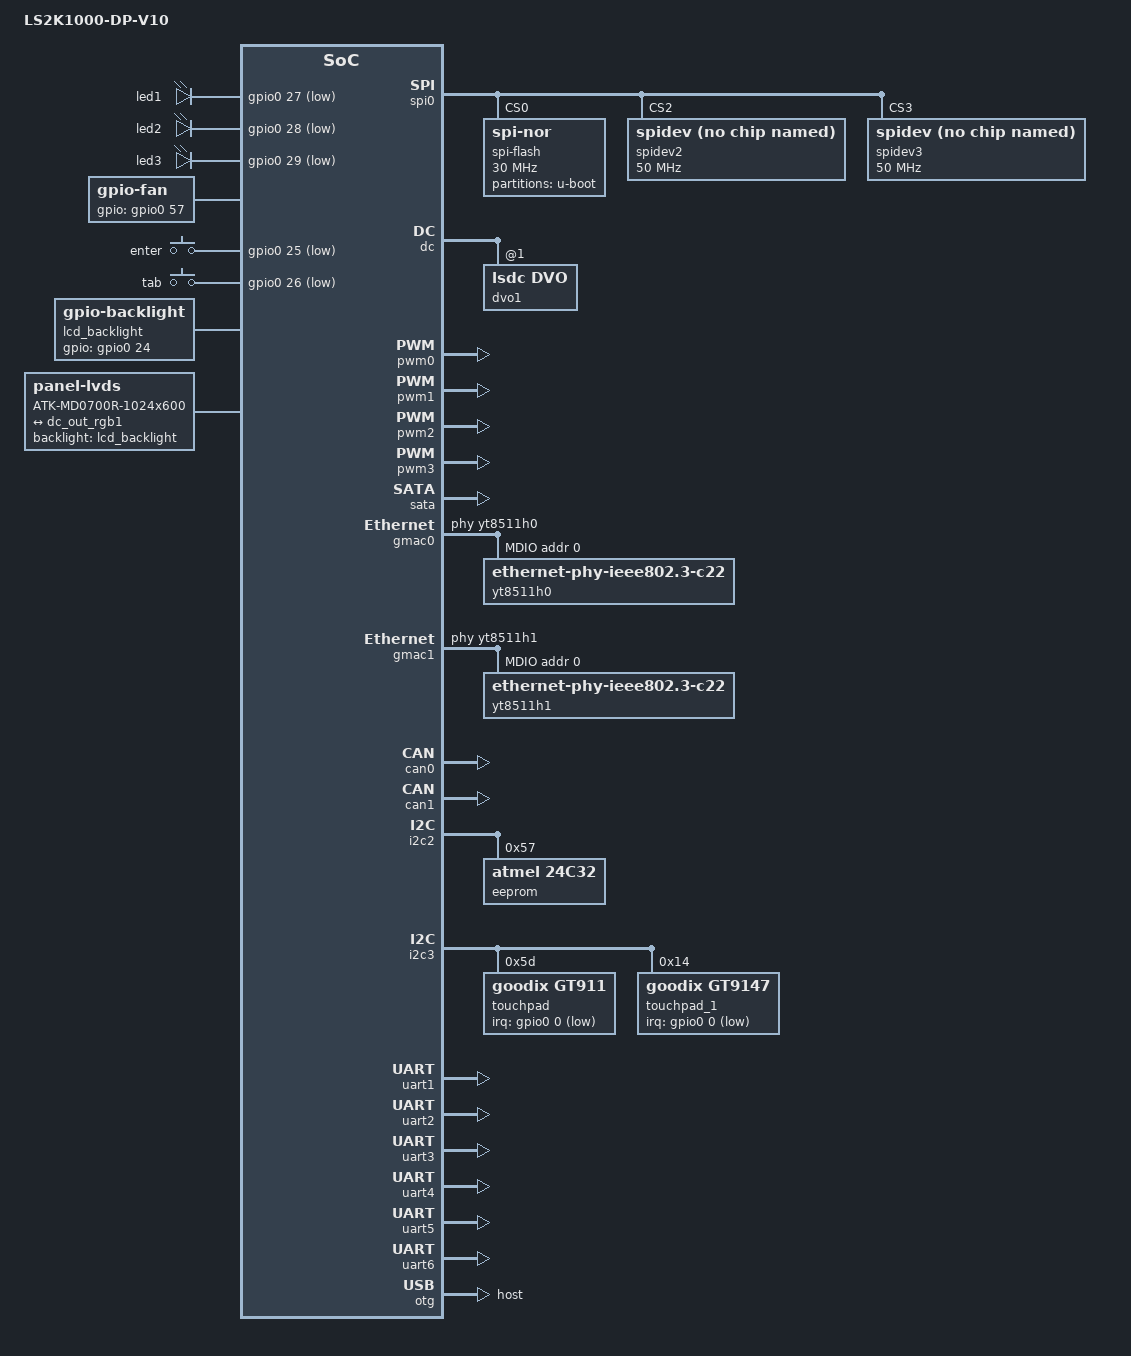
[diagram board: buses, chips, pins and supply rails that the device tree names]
// SPDX-License-Identifier: GPL-2.0
/*
 * Copyright (C) 2025 Loongson Technology Corporation Limited
 */

/dts-v1/;

#include "loongson-2k1000.dtsi"
#include "loongson_panel_param.dtsi"
#include <dt-bindings/input/linux-event-codes.h>

/ {
	model = "LS2K1000-DP-V10";

	aliases {
		serial0 = &uart0;
	};

	chosen {
		stdout-path = "serial0:115200n8";
		bootargs = "earlycon";
	};

	/* not need memory node, we get memory info from boot params. */
	// memory {
	// 	name = "memory";
	// 	device_type = "memory";
	// 	reg =  <0 0x00200000 0 0x0ee00000
	// 		0 0x90000000 0 0x70000000>;
	// };

	reserved-memory {
		#address-cells = <2>;
		#size-cells = <2>;
		ranges;

		fb_memory: framebuffer {
			compatible = "shared-dma-pool";
			no-map;
			reg = <0 0x0b000000 0 0x04000000>; /* 64M */
		};

		linux,cma {
			compatible = "shared-dma-pool";
			reusable;
			size = <0 0x2000000>;
			linux,cma-default;
		};
	};

#if 0
	pwmleds {
		compatible = "pwm-leds";

		led4 {
			label = "led4-pwm";
			pwms = <&pwm0 0 2550000>;
			max-brightness = <255>;
			active-low;
		};
	};
#endif

	leds {
		compatible = "gpio-leds";

		led1 {
			label = "led1";
			gpios = <&gpio0 27 GPIO_ACTIVE_LOW>;
			linux,default-trigger = "heartbeat";
			default-state = "on";
		};

		led2 {
			label = "led2";
			gpios = <&gpio0 28 GPIO_ACTIVE_LOW>;
			default-state = "off";
		};

		led3 {
			label = "led3";
			gpios = <&gpio0 29 GPIO_ACTIVE_LOW>;
			default-state = "off";
		};
	};

	gpio-fan {
		compatible = "gpio-fan";
		gpios = <&gpio0 57 GPIO_ACTIVE_HIGH>;
		gpio-fan,speed-map = <0    0>,
					<3000 1>,
					<6000 2>;
		#cooling-cells = <2>; /* min followed by max */
	};

	gpio_keys {
		compatible = "gpio-keys-polled";
		#address-cells = <1>;
		#size-cells = <0>;
		poll-interval = <20>;

		enter {
			label = "enter";
			linux,code = <KEY_ENTER>;
			gpios = <&gpio0 25 GPIO_ACTIVE_LOW>;
		};

		tab {
			label = "tab";
			linux,code = <KEY_TAB>;
			gpios = <&gpio0 26 GPIO_ACTIVE_LOW>;
		};
	};

	lcd_backlight: backlight {
		compatible = "gpio-backlight";
		gpios = <&gpio0 24 GPIO_ACTIVE_HIGH>;
		status = "okay";
	};

	panel: dvo-connector@0 {
		#address-cells = <1>;
		#size-cells = <0>;
		compatible = "panel-lvds", "auo,b101ean01";
		backlight = <&lcd_backlight>;

		/* lcd power on control gpio */
		/* enable-gpios = <&gpio0 3 GPIO_ACTIVE_HIGH>; */
		// power-supply = <&vdd_lcd>;

		status = "okay";
#if 1	// 7' LCD
		width-mm = <180>;
		height-mm = <110>;
		label = "ATK-MD0700R-1024x600";
		data-mapping = "jeida-24";

		panel-timing {
			clock-frequency = <51200000>;
			hactive = <1024>;
			vactive = <600>;
			hsync-len = <20>;
			hfront-porch = <160>;
			hback-porch = <140>;
			vfront-porch = <12>;
			vback-porch = <20>;
			vsync-len = <3>;
			de-active = <1>;
			hsync-active = <0>;
			vsync-active = <0>;
			pixelclk-active = <0>;
		};
#else	// 10' LCD
		width-mm = <229>;
		height-mm = <149>;
		label = "ATK-MD1010R-1280x800";
		data-mapping = "jeida-24";

		panel-timing {
			clock-frequency = <71100000>;
			hactive = <1280>;
			vactive = <800>;
			hsync-len = <10>;
			hfront-porch = <70>;
			hback-porch = <80>;
			vfront-porch = <10>;
			vback-porch = <10>;
			vsync-len = <3>;
			de-active = <1>;
			hsync-active = <0>;
			vsync-active = <0>;
			pixelclk-active = <0>;
		};
#endif

		port@0 {
			reg = <0>;

			#address-cells = <1>;
			#size-cells = <0>;

			dvo_connector_in: endpoint@0 {
				reg = <0>;
				remote-endpoint = <&dc_out_rgb1>;
			};
		};
	};
};

&spi0 {
	status = "okay";

	#address-cells = <1>;
    	#size-cells = <0>;
	spi-flash@0 {
		compatible = "jedec,spi-nor";
		spi-max-frequency = <30000000>;
		reg = <0>; /* CS0 */

		partitions {
			compatible = "fixed-partitions";
			#address-cells = <1>;
			#size-cells = <1>;

			partition@0 {
				label = "u-boot";
				reg = <0x0000000 0x100000>;
				read-only;
			};
		};
	};

#if 0
	// 没引出来
	spidev1@1 {
		compatible = "rohm,dh2228fv";
		reg = <1>;
		spi-max-frequency = <50000000>;
	};
#endif

	spidev2@2 {
		compatible = "rohm,dh2228fv";
		reg = <2>;
		spi-max-frequency = <50000000>;
	};

	spidev3@3 {
		compatible = "rohm,dh2228fv";
		reg = <3>;
		spi-max-frequency = <50000000>;
	};
};


&dc {
	status = "okay";
	#address-cells = <1>;
	#size-cells = <0>;
	memory-region = <&fb_memory>;

	// output-ports = <&dvo0>;

	dvo1: dvo@1 {
		compatible = "lsdc,dvo";
		/* 1 for connector 1 (DVO1) */
		reg = <1>;

		pinctrl-0 = <&dvo1_default>;
		pinctrl-names = "default";
	};

	ports {
		#address-cells = <1>;
		#size-cells = <0>;

		port@1 {
			reg = <1>;
			dc_out_rgb1: endpoint {
				remote-endpoint = <&dvo_connector_in>;
			};
		};
	};
};

&pwm0 {
	status = "okay";
};

&pwm1 {
	status = "okay";
};

&pwm2 {
	status = "okay";
};

&pwm3 {
	status = "okay";
};

&sata {
	status = "okay";
	pinctrl-0 = <&ahci_default>;
	pinctrl-names = "default";
	ports-implemented = <0x1>;
};

&gmac0 {
	status = "okay";
	phy-handle = <&yt8511h0>;
	mdio {
		compatible = "snps,dwmac-mdio";
		#address-cells = <1>;
		#size-cells = <0>;

		yt8511h0: ethernet-phy@0 {
			compatible = "ethernet-phy-ieee802.3-c22";
			reg = <0>;
			motorcomm,led0_cfg = <0x40>; //千兆常亮
			motorcomm,led1_cfg = <0x30>; //百兆 十兆常亮
			motorcomm,led2_cfg = <0x2600>; //有数据时闪烁
		};
	};
};

&gmac1 {
	status = "okay";
	phy-handle = <&yt8511h1>;
	mdio {
		compatible = "snps,dwmac-mdio";
		#address-cells = <1>;
		#size-cells = <0>;

		yt8511h1: ethernet-phy@0 {
			compatible = "ethernet-phy-ieee802.3-c22";
			reg = <0>;
			motorcomm,led0_cfg = <0x40>; //千兆常亮
			motorcomm,led1_cfg = <0x30>; //百兆 十兆常亮
			motorcomm,led2_cfg = <0x2600>; //有数据时闪烁
		};
	};
};


&can0 {
	//nxp,external-clock-frequency = <125000000>;
	clocks = <&clk LOONGSON2_APB_CLK>;
	net,tx_queue_len = <1024>;
	status = "okay";
};

&can1 {
	//nxp,external-clock-frequency = <125000000>;
	clocks = <&clk LOONGSON2_APB_CLK>;
	net,tx_queue_len = <1024>;
	status = "okay";
};

&i2c2 {
	status = "okay";

	#address-cells = <1>;
    	#size-cells = <0>;
	eeprom@57 {
		compatible = "atmel,24c32";
		reg = <0x57>;
		pagesize = <32>;
	};
};

&i2c3 {
	status = "okay";

	#address-cells = <1>;
    	#size-cells = <0>;
	// 两款芯片不能同时支持，因为用同一个GPIO
	// 但可以在两个屏幕间切换

	// 7寸触屏芯片
	touchpad: gt911@5d {
		compatible = "goodix,gt911";
		reg = <0x5d>;
		interrupt-parent = <&liointc1>;
		interrupts = <29 IRQ_TYPE_LEVEL_HIGH>;
		irq-gpios = <&gpio0 0 GPIO_ACTIVE_LOW>;
	};

	// 4.3寸触屏芯片
	touchpad_1: gt9147@14 {
		compatible = "goodix,gt9147";
		reg = <0x14>;
		// 2K300 GPIO 支持中断控制
		// GPIO 中断号为 vhwirq-base + pinnum (210 = 128 + 82)
		interrupt-parent = <&liointc1>;
		interrupts = <29 IRQ_TYPE_LEVEL_HIGH>;
		irq-gpios = <&gpio0 0 GPIO_ACTIVE_LOW>;
	};
};

&uart1 {
	status = "okay";
};

&uart2 {
	status = "okay";
};

&uart3 {
	status = "okay";
};

&uart4 {
	status = "okay";
};

&uart5 {
	status = "okay";
};

&uart6 {
	status = "okay";
};

&otg {
	dr_mode = "host";
	status = "okay";
};

